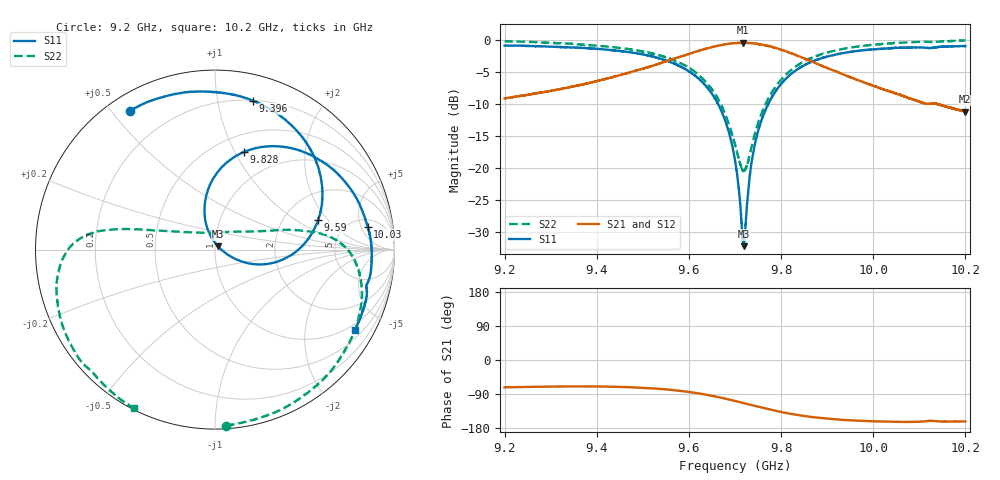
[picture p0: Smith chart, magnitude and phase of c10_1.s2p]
!Agilent Technologies,N5242A,MY51221714,A.09.90.19
!Agilent N5242A: A.09.90.19
!Date: Saturday, March 16, 2024 10:18:49
!Correction: S11(Full 2 Port(1,2))
!S21(Full 2 Port(1,2))
!S12(Full 2 Port(1,2))
!S22(Full 2 Port(1,2))
!S2P File: Measurements: S11, S21, S12, S22:
# Hz S  dB  R 50
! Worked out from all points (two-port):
!   16001 points, 9.2 GHz to 10.2 GHz, reference 50 ohm
!   highest |S21| = -0.42 dB at 9.718 GHz (marker M1); lowest = -11.2 dB at 10.2 GHz (marker M2)
!   |S21| within 3 dB of the highest: 9.546 GHz to 9.869 GHz (323.4 MHz wide, 3.33 % of centre)
!   lowest |S11| = -32.2 dB at 9.719 GHz (marker M3), VSWR 1.05, Z = 51.6 + j1.91 ohm
!   |S11| at or under -10 dB: 9.663 GHz to 9.772 GHz (108.6 MHz wide, 1.12 % of centre)
!   |S22| runs from -20.5 to -0.1 dB; largest |S21 - S12| = 0.012
!   S11 on the Smith chart (normalised r, x): 9.2 GHz: 0.07, +0.56; 9.396 GHz: 0.20, +1.27; 9.59 GHz: 3.09, +1.60; 9.828 GHz: 0.68, +1.09; 10.03 GHz: 6.78, +6.57; 10.2 GHz: 0.78, -3.60
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9.2e9  -0.87 121.6  -9.09 -72.3  -9.09 -72.8  -0.15 -86.4
9.27775e9  -0.96 104.1  -8.22 -70.6  -8.19 -71.0  -0.35 -64.7
9.366688e9  -1.22 83.2  -6.97 -69.7  -6.95 -70.3  -0.70 -40.8
9.3965e9  -1.36 75.7  -6.47 -69.8  -6.45 -70.5  -0.84 -33.1
9.533375e9  -2.80 36.4  -3.72 -75.9  -3.72 -76.4  -2.32 -2.5
9.590312e9  -4.45 16.1  -2.38 -82.8  -2.38 -83.4  -3.92 6.8
9.66e9  -9.54 -12.8  -0.93 -96.9  -0.93 -97.4  -8.78 17.4
9.68325e9  -13.53 -21.8  -0.62 -103.2  -0.60 -103.7  -12.45 25.3
9.7e9  -18.74 -24.3  -0.48 -108.0  -0.46 -108.6  -16.30 40.5
9.717812e9  -31.87 29.4  -0.42 -113.5  -0.41 -114.1  -20.33 86.3
9.71925e9  -32.19 48.9  -0.43 -113.9  -0.42 -114.5  -20.46 91.9
9.735688e9  -19.19 109.7  -0.49 -118.9  -0.47 -119.6  -16.75 139.4
9.7535e9  -13.35 105.8  -0.65 -124.3  -0.64 -124.9  -12.27 155.5
9.784625e9  -8.38 92.8  -1.14 -133.2  -1.16 -133.8  -7.63 164.5
9.828e9  -4.94 73.5  -2.23 -143.5  -2.23 -144.1  -4.33 169.7
9.866688e9  -3.39 58.1  -3.36 -150.4  -3.35 -151.0  -2.78 173.9
9.94725e9  -1.88 31.0  -5.71 -158.9  -5.72 -159.4  -1.21 -173.8
1.002881e10  -1.32 8.5  -7.87 -162.6  -7.87 -163.2  -0.55 -157.3
1.003338e10  -1.28 7.3  -7.97 -162.7  -7.97 -163.2  -0.52 -156.3
1.010962e10  -1.18 -11.2  -9.86 -162.2  -9.84 -162.7  -0.25 -139.4
1.019938e10  -0.94 -29.7  -11.17 -162.1  -11.14 -162.8  -0.07 -117.1
1.02e10  -0.94 -29.8  -11.17 -162.1  -11.16 -162.8  -0.07 -116.9
